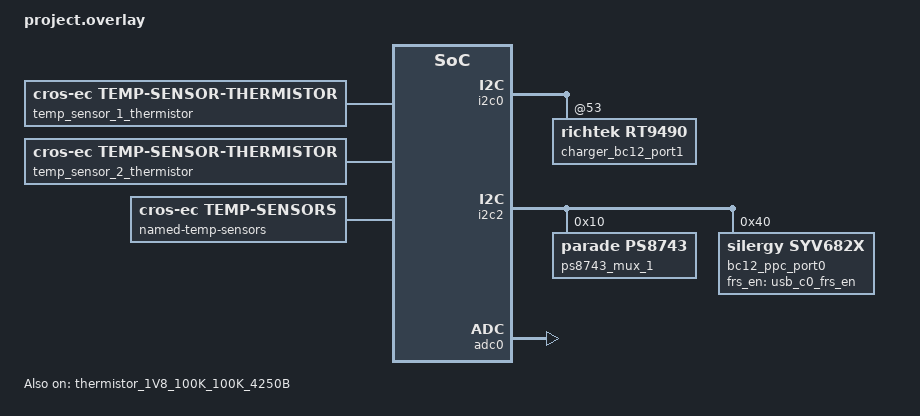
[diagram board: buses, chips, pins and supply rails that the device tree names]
/* Copyright 2024 The ChromiumOS Authors
 * Use of this source code is governed by a BSD-style license that can be
 * found in the LICENSE file.
 */

/* Corsola program common DTS includes */

#include "../common.dtsi"
#include "../power_signal.dtsi"
#include "../ite_adc.dtsi"
#include "../ite_gpio.dtsi"
#include "../ite_i2c.dtsi"
#include "../ite_interrupts.dtsi"
#include "../ite_keyboard.dtsi"
#include "../ite_usbc.dtsi"
#include "../ite_shi.dtsi"
#include "./led.dtsi"
#include "./thermistor.dtsi"
#include <cros/thermistor/thermistor.dtsi>
#include <dt-bindings/motionsense/utils.h>

/ {
	batteries {
		default_battery: hq24u2s1p3l {
			compatible = "utl,hq24u2s1p3l", "battery-smart";
		};
	};
	gpio-interrupts {
		int_base_imu: base_imu {
			irq-pin = <&base_imu_int_l>;
			flags = <GPIO_INT_EDGE_FALLING>;
			handler = "motion_interrupt";
		};

		int_pmic_ec_resetb: pmic-ec-resetb {
			irq-pin = <&pmic_ec_resetb>;
			flags = <GPIO_INT_EDGE_BOTH>;
			handler = "power_signal_interrupt";
		};

		int_pg_pp4200_s5: pg-pp4200-s5 {
			irq-pin = <&pg_pp4200_s5_od>;
			flags = <GPIO_INT_EDGE_BOTH>;
			handler = "power_signal_interrupt";
		};

		pogo_prsnt_int: pogo-prsnt-int {
			irq-pin = <&pogo_prsnt_int_l>;
			flags = <GPIO_INT_EDGE_BOTH>;
			handler = "base_detect_interrupt";
		};

		usb_c0_ppc_bc12 {
			handler = "ppc_interrupt";
		};

		int_lid_open_for_pogo: lid_open_for_pogo {
			irq-pin = <&lid_open>;
			flags = <GPIO_INT_EDGE_BOTH>;
			handler = "enable_base_by_lid";
		};

		/delete-node/ tablet_mode;
		/delete-node/ usb_c1_bc12_charger;
		/delete-node/ lid_imu;
	};

	named-gpios {
		compatible = "named-gpios";
		/delete-node/ lid_accel_int_l;
		/delete-node/ usb_c0_ppc_frsinfo;

		// usb_c0_dp_in_hpd: GPH3
		ec_pen_chg_dis_odl: ec_pen_chg_dis_odl{
			gpios = <&gpioh 3 GPIO_OUTPUT_HIGH>;
		};

		en_pp5000_z2: en_pp5000_z2 {
			gpios = <&gpioc 6 GPIO_OUTPUT_LOW>;
		};

		// EN_PP3300_BASE_X  GPD7
		en_pp3300_base_x: en_pp3300_base_x{
			gpios = <&gpiod 7 GPIO_OUTPUT_LOW>;
		};

		// USB_C0_DP_IN_HPD  GPH6
		usb_c0_dp_in_hpd: usb-c0-dp-in-hpd {
			gpios = <&gpioh 6 GPIO_OUTPUT_LOW>;
		};

		// POGO_PRSNT_INT_L  GPI5
		pogo_prsnt_int_l: pogo_prsnt_int_l {
			gpios = <&gpioi 5 (GPIO_INPUT | GPIO_ACTIVE_LOW)>;
		};

		en_pp4200_s5: en-pp4200-s5 {
			gpios = <&gpiob 7 GPIO_OUTPUT_LOW>;
		};

		pg_pp4200_s5_od: pg-pp4200-s5-od {
			gpios = <&gpioc 5 GPIO_INPUT>;
			enum-name = "GPIO_PG_PP4200_S5_OD";
		};

		pmic_ec_resetb: pmic-ec-resetb {
			gpios = <&gpioj 6 (GPIO_INPUT | GPIO_VOLTAGE_1P8 |
					   GPIO_ACTIVE_LOW)>;
			enum-name = "GPIO_PMIC_EC_RESETB";
		};

		/delete-node/ entering_rw;
		/*
		 * Not used, only to make system.c compilable.
		 * TODO: find a better way to remove this.
		 */
		entering_rw: entering-rw {
			enum-name = "GPIO_ENTERING_RW";
		};

		usb_c0_frs_en: usb_c0_frs_en {
			gpios = <&gpiof 0 GPIO_OUTPUT_LOW>;
			enum-name = "GPIO_USB_C0_FRS_EN";
		};

		gpio_ec_led1_odl: ec_led1_odl {
			gpios = <&gpioa 1 (GPIO_OUTPUT | GPIO_OPEN_DRAIN | GPIO_ACTIVE_HIGH | GPIO_OUTPUT_INIT_HIGH)>;
		};
		gpio_ec_led2_odl: ec_led2_odl {
			gpios = <&gpioa 0 (GPIO_OUTPUT | GPIO_OPEN_DRAIN | GPIO_ACTIVE_HIGH | GPIO_OUTPUT_INIT_HIGH)>;
		};
		gpio_ac_lcd: gpio-ac-lcd{
			gpios = <&gpiom 6 GPIO_OUTPUT_LOW>;
		};

		/delete-node/ en_pp5000_usb_a0_vbus;
		/delete-node/ usb_a0_fault_odl;
		/delete-node/ usb_c1_bc12_charger_int_odl;
	};

	unused-pins {
		unused-gpios =
		<&gpioa 7 GPIO_INPUT_PULL_DOWN>,
		<&gpioe 0 GPIO_INPUT_PULL_DOWN>,
		<&gpioe 7 GPIO_INPUT_PULL_DOWN>,
		<&gpiof 1 GPIO_INPUT_PULL_DOWN>,
		<&gpioh 0 GPIO_INPUT_PULL_DOWN>,	//EC_AP_RSVD1_ODL
		<&gpioh 1 GPIO_INPUT_PULL_DOWN>,
		<&gpioh 2 GPIO_INPUT_PULL_DOWN>,
		<&gpioi 3 GPIO_INPUT_PULL_DOWN>,	//EC_AP_RSVD0_ODL
		<&gpioj 4 GPIO_INPUT_PULL_DOWN>,
		<&gpiom 2 GPIO_INPUT_PULL_DOWN>;
	};

	/delete-node/ cros-keyscan;

	/* wyrdeer-specific ssfc fields. */
	wyrdeer-ssfc {
		compatible = "cros-ec,cbi-ssfc";

		/* SSFC field to identify BASE motion sensor. */
		lid-sensor {
			enum-name = "BASE_SENSOR";
			size = <3>;

			lid_sensor_0: bmi323 {
				compatible = "cros-ec,cbi-ssfc-value";
				status = "okay";
				value = <1>;
				default;
			};
			lid_sensor_1: lsm6dsm {
				compatible = "cros-ec,cbi-ssfc-value";
				status = "okay";
				value = <2>;
			};
		};
	};

	aliases {
		/*
		 * motion sense's <>_INT_EVENT is handled
		 * by alias. Using the alias, each driver creates
		 * its own <>_INT_EVENT.
		 */
		bmi3xx-int = &lid_accel;
		lsm6dsm-int = &lid_accel;
	};

	motionsense-mutex {
		compatible = "cros-ec,motionsense-mutex";
		lid_mutex_bmi323: bmi323-mutex {
		};
		lid_mutex_lsm6dsm: lsm6dsm-mutex {
		};
	};

	/* Rotation matrix used by drivers. */
	motionsense-rotation-ref {
		compatible = "cros-ec,motionsense-rotation-ref";
		lid_rot_ref_bmi: lid-rotation-ref-bmi {
			mat33 = <0 1 0
				 (-1) 0 0
				 0 0 1>;
		};
		lid_rot_ref_lsm6dsm: lid-rotation-ref-lsm6dsm {
			mat33 = <1 0 0
				 0 1 0
				 0 0 1>;
		};
	};

	motionsense-sensor-data {
		bmi323_data: bmi323-drv-data {
			compatible = "cros-ec,drvdata-bmi3xx";
			status = "okay";
		};
		lsm6dsm_data_accel: lsm6dsm-accel-drv-data {
			compatible = "cros-ec,drvdata-lsm6dsm";
			status = "okay";
		};
		lsm6dsm_data_gyro: lsm6dsm-gyro-drv-data {
			compatible = "cros-ec,drvdata-lsm6dsm";
			status = "okay";
		};
	};

	motionsense-sensor {
		/delete-node/ base-accel;
		/delete-node/ base-gyro;

		lid_accel: lid-accel {
			compatible = "cros-ec,bmi3xx-accel";
			status = "okay";

			active-mask = "SENSOR_ACTIVE_S0_S3";
			location = "MOTIONSENSE_LOC_LID";
			mutex = <&lid_mutex_bmi323>;
			port = <&i2c_sensor>;
			rot-standard-ref = <&lid_rot_ref_bmi>;
			drv-data = <&bmi323_data>;
			configs {
				compatible =
					"cros-ec,motionsense-sensor-config";
			};
		};

		lid_gyro: lid-gyro {
			compatible = "cros-ec,bmi3xx-gyro";
			status = "okay";

			active-mask = "SENSOR_ACTIVE_S0_S3";
			location = "MOTIONSENSE_LOC_LID";
			mutex = <&lid_mutex_bmi323>;
			port = <&i2c_sensor>;
			rot-standard-ref = <&lid_rot_ref_bmi>;
			drv-data = <&bmi323_data>;
		};
	};

	motionsense-sensor-alt {
		alt_lid_accel: alt-lid-accel {
			compatible = "cros-ec,lsm6dsm-accel";
			status = "okay";

			active-mask = "SENSOR_ACTIVE_S0_S3";
			location = "MOTIONSENSE_LOC_LID";
			mutex = <&lid_mutex_lsm6dsm>;
			port = <&i2c_sensor>;
			rot-standard-ref = <&lid_rot_ref_lsm6dsm>;
			drv-data = <&lsm6dsm_data_accel>;
			alternate-for = <&lid_accel>;
			alternate-ssfc-indicator = <&lid_sensor_1>;
			configs {
				compatible =
					"cros-ec,motionsense-sensor-config";
			};
		};

		alt_lid_gyro: alt-lid-gyro {
			compatible = "cros-ec,lsm6dsm-gyro";
			status = "okay";

			active-mask = "SENSOR_ACTIVE_S0_S3";
			location = "MOTIONSENSE_LOC_LID";
			mutex = <&lid_mutex_lsm6dsm>;
			port = <&i2c_sensor>;
			rot-standard-ref = <&lid_rot_ref_lsm6dsm>;
			default-range = <(1000 | ROUND_UP_FLAG)>; /* dps */
			drv-data = <&lsm6dsm_data_gyro>;
			alternate-for = <&lid_gyro>;
			alternate-ssfc-indicator = <&lid_sensor_1>;
		};
	};

	motionsense-sensor-info {
		compatible = "cros-ec,motionsense-sensor-info";

		/*
		 * list of GPIO interrupts that have to
		 * be enabled at initial stage
		 */
		sensor-irqs = <&int_base_imu>;
	};

	usbc {
		/delete-node/ port1@1;
		/delete-node/ port1-muxes;

		port0@0{
			/delete-property/ bc12;
			usb-mux-chain-0{
				usb-muxes = <&ps8743_mux_1 &virtual_mux_0>;
			};
		};
	};

	power_signal_list: power-signal-list {
		compatible = "mediatek,mt8188-power-signal-list";

		pg_pp4200_s5 {
			power-enum-name = "PG_PP4200_S5";
			power-gpio-pin = <&pg_pp4200_s5_od>;
		};
		pmic_ap_reset {
			power-enum-name = "PMIC_AP_RST";
			power-gpio-pin = <&pmic_ec_resetb>;
		};
	};

	named-adc-channels {
        	adc_temp_sensor_1: adc-temp-sensor-1 {
			enum-name = "ADC_TEMP_SENSOR_1";
			io-channels = <&adc0 6>;
		};
		adc_temp_sensor_2: adc-temp-sensor-2 {
			enum-name = "ADC_TEMP_SENSOR_2";
			io-channels = <&adc0 7>;
		};
	};

	temp_sensor_1_thermistor: sensor-1-thermistor {
		compatible = "cros-ec,temp-sensor-thermistor";
		thermistor = <&thermistor_1V8_100K_100K_4250B>;
		adc = <&adc_temp_sensor_1>;
	};

	temp_sensor_2_thermistor: sensor-2-thermistor {
		compatible = "cros-ec,temp-sensor-thermistor";
		thermistor = <&thermistor_1V8_100K_100K_4250B>;
		adc = <&adc_temp_sensor_2>;
	};

	named-temp-sensors {
		compatible = "cros-ec,temp-sensors";
		temp_sensor_1 {
			sensor = <&temp_sensor_1_thermistor>;
		};
		temp_sensor_2 {
			sensor = <&temp_sensor_2_thermistor>;
		};
		temp_charger: charger {
			sensor = <&charger_bc12_port1>;
		};
	};
};

&i2c0{
	charger_bc12_port1: rt9490@53{
		compatible = "richtek,rt9490";
		thermistor = <&thermistor_rt9490>;
		eoc-current = <120>;
		/delete-property/ irq;
	};
};

&i2c2 {
	ps8743_mux_1: ps8743-mux-1@10 {
		compatible = "parade,ps8743";
		reg = <0x10>;
	};
	/delete-node/ rt1739@70;
	bc12_ppc_port0: syv682x@40 {
		compatible = "silergy,syv682x";
		status = "okay";
		reg = <0x40>;
		frs_en_gpio = <&usb_c0_frs_en>;
	};
};

&adc0{
	status = "okay";
	pinctrl-0 = <&adc0_ch6_gpi6_default>;
	pinctrl-names = "default";
};

&thermistor_1V8_100K_100K_4250B{
	status = "okay";
};
